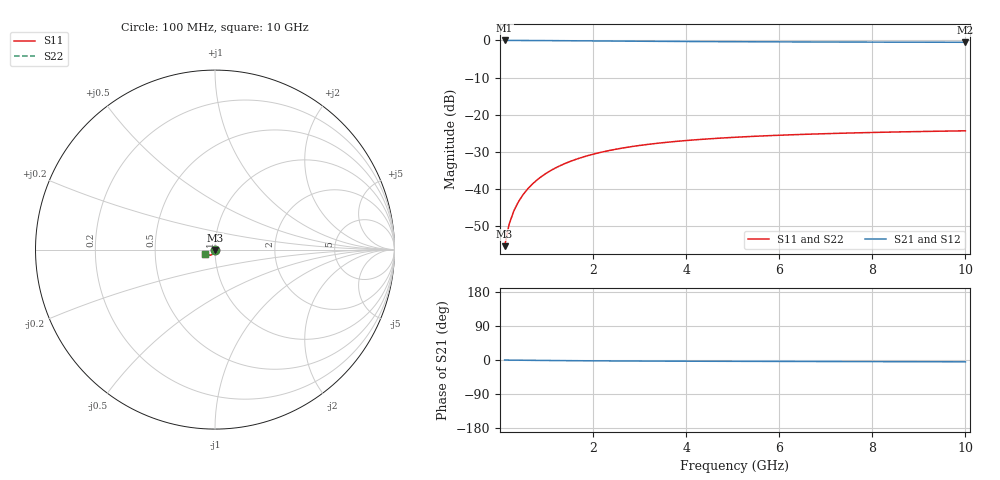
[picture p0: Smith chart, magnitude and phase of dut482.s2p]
! Touchstone file exported from HFSS 2024.1.0
!  File:  C:/UserFiles/LocalFiles/RDL_TSV_Batchsim/temp_TSV1_482_1779699637.aedt
!  Generated:  05:06:32 PM May 25, 2026
!  Design:  TSV1
!  Project:  temp_TSV1_482_1779699637
!  Setup:  Setup1
!  Solution:  Sweep
! Variables:
!  dtsv = 12.53um
!  hbump = 3um
!  htsv = 72.06um
!  lrdl = 252.1521522um
!  p = 40
!  p1 = 41.17um
!  t = 500um
!  trdl = 3um
!  wrdl = 24.89489489um
# GHz S MA R 50.000000
! Terminal data exported
! Port[1] = TSV22_T1
! Port[2] = TSV22_T2
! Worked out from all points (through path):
!   100 points, 100 MHz to 10 GHz, reference 50 ohm
!   highest |S21| = 0.00 dB at 100 MHz (marker M1); lowest = -0.5 dB at 10 GHz (marker M2)
!   lowest |S11| = -55.4 dB at 100 MHz (marker M3), VSWR 1.00, Z = 50 - j0.17 ohm
!   |S11| at or under -10 dB: start of sweep to end of sweep
!   |S22| runs from -55.4 to -24.3 dB; largest |S21 - S12| = 4.6e-15
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0.1  0.001697 -88.6  0.9999 -0.1  0.9999 -0.1  0.001697 -88.6
! Gamma 0 0 0 0
! Port Impedance 50 0 50 0
0.2  0.003399 -91.8  0.9997 -0.3  0.9997 -0.3  0.003399 -91.8
0.3  0.005094 -93.9  0.9995 -0.4  0.9995 -0.4  0.005094 -93.9
0.4  0.006775 -95.8  0.9991 -0.5  0.9991 -0.5  0.006775 -95.8
0.5  0.008437 -97.5  0.9987 -0.7  0.9987 -0.7  0.008437 -97.5
0.6  0.01008 -99.1  0.9982 -0.8  0.9982 -0.8  0.01008 -99.1
0.7  0.01169 -100.7  0.9976 -0.9  0.9976 -0.9  0.01169 -100.7
0.8  0.01328 -102.3  0.9969 -1.0  0.9969 -1.0  0.01328 -102.3
0.9  0.01483 -103.8  0.9962 -1.1  0.9962 -1.1  0.01483 -103.8
1.1  0.01783 -106.8  0.9946 -1.4  0.9946 -1.4  0.01783 -106.8
1.4  0.02204 -111.0  0.9918 -1.7  0.9918 -1.7  0.02204 -111.0
1.6  0.02465 -113.6  0.9899 -1.8  0.9899 -1.8  0.02465 -113.6
1.8  0.02708 -116.1  0.9879 -2.0  0.9879 -2.0  0.02708 -116.1
2.1  0.03043 -119.6  0.9849 -2.2  0.9849 -2.2  0.03043 -119.6
2.5  0.03436 -123.7  0.9809 -2.5  0.9809 -2.5  0.03436 -123.7
2.9  0.03775 -127.4  0.9772 -2.7  0.9772 -2.7  0.03775 -127.4
3.4  0.04134 -131.4  0.9729 -2.9  0.9729 -2.9  0.04134 -131.4
4.2  0.04592 -136.6  0.9669 -3.2  0.9669 -3.2  0.04592 -136.6
5.1  0.04985 -141.2  0.9614 -3.5  0.9614 -3.5  0.04985 -141.2
6.7  0.05481 -147.4  0.9541 -3.9  0.9541 -3.9  0.05481 -147.4
8.4  0.05834 -152.0  0.9487 -4.4  0.9487 -4.4  0.05834 -152.0
10  0.06067 -155.4  0.9451 -4.8  0.9451 -4.8  0.06067 -155.4
